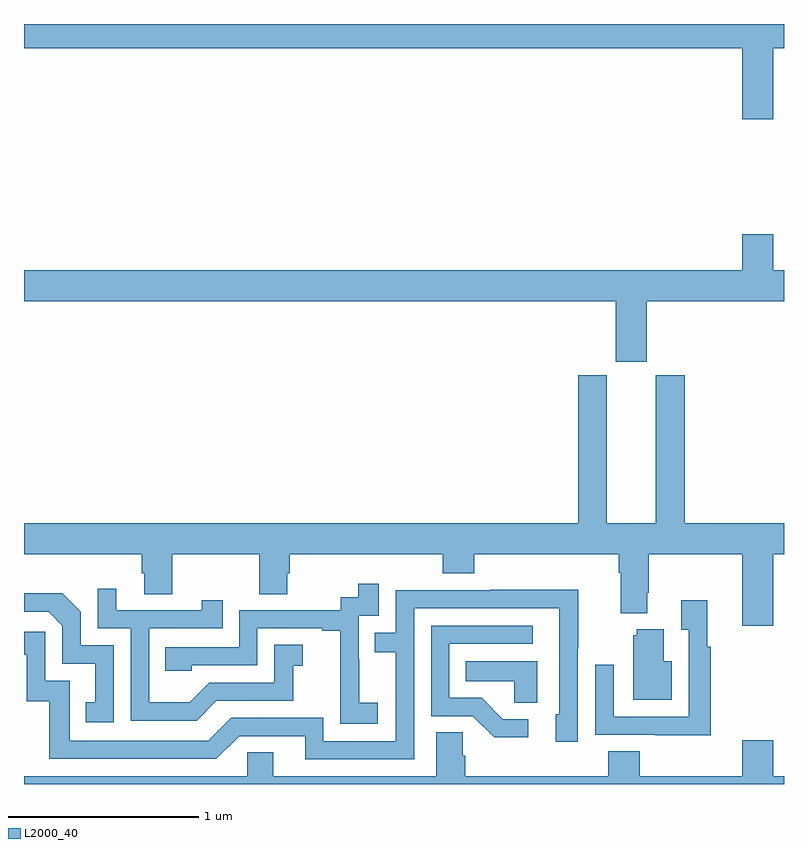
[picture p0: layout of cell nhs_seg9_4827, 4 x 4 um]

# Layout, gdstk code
import gdstk
lib = gdstk.Library(unit=1e-6, precision=1e-09)
def P(c, l, *ps):  # polygons
    for p in ps: c.add(gdstk.Polygon(p, *l))
L2000_40 = (2000, 40)

nhs_seg9_4827 = lib.new_cell('nhs_seg9_4827')
P(nhs_seg9_4827, L2000_40, [(392.944,1244.372),(393,1244.372),(393,1244.5),(389,1244.5),(389,1244.372),(392.78,1244.372),(392.78,1243.998),(392.944,1243.998)],
  [(392.278,1243.04),(393,1243.04),(393,1243.204),(392.944,1243.204),(392.944,1243.393),(392.78,1243.393),(392.78,1243.204),(389,1243.204),(389,1243.04),(392.114,1243.04),(392.114,1242.723),(392.278,1242.723)],
  [(392.944,1241.708),(393,1241.708),(393,1241.872),(392.477,1241.872),(392.477,1242.651),(392.324,1242.651),(392.324,1241.872),(392.068,1241.872),(392.068,1242.651),(391.916,1242.651),(391.916,1241.872),(389,1241.872),(389,1241.708),(389.621,1241.708),(389.621,1241.61),(389.633,1241.61),(389.633,1241.5),(389.781,1241.5),(389.781,1241.708),(390.238,1241.708),(390.238,1241.5),(390.385,1241.5),(390.385,1241.61),(390.398,1241.61),(390.398,1241.708),(391.205,1241.708),(391.205,1241.609),(391.37,1241.609),(391.37,1241.708),(392.129,1241.708),(392.129,1241.612),(392.141,1241.612),(392.141,1241.399),(392.281,1241.399),(392.281,1241.506),(392.289,1241.506),(392.289,1241.708),(392.78,1241.708),(392.78,1241.334),(392.944,1241.334)],
  [(390.862,1240.927),(390.764,1240.927),(390.764,1241.156),(390.762,1241.156),(390.762,1241.385),(390.867,1241.385),(390.867,1241.554),(390.759,1241.554),(390.759,1241.484),(390.666,1241.484),(390.666,1241.415),(390.132,1241.415),(390.132,1241.22),(389.743,1241.22),(389.743,1241.097),(389.883,1241.097),(389.883,1241.124),(390.228,1241.124),(390.228,1241.319),(390.569,1241.319),(390.569,1241.307),(390.665,1241.307),(390.665,1241.023),(390.664,1241.023),(390.664,1240.817),(390.862,1240.817)],
  [(390.013,1240.938),(390.417,1240.938),(390.417,1241.123),(390.466,1241.123),(390.466,1241.233),(390.318,1241.233),(390.318,1241.034),(389.976,1241.034),(389.872,1240.93),(389.658,1240.93),(389.658,1241.319),(390.047,1241.319),(390.047,1241.467),(389.936,1241.467),(389.936,1241.415),(389.485,1241.415),(389.485,1241.527),(389.388,1241.527),(389.388,1241.319),(389.562,1241.319),(389.562,1240.833),(389.908,1240.833)],
  [(391.053,1241.424),(391.818,1241.424),(391.818,1240.866),(391.799,1240.866),(391.799,1240.722),(391.914,1240.722),(391.914,1241.215),(391.917,1241.215),(391.917,1241.522),(391.453,1241.522),(391.453,1241.52),(390.957,1241.52),(390.957,1241.295),(390.847,1241.295),(390.847,1241.194),(390.957,1241.194),(390.957,1240.725),(390.576,1240.725),(390.576,1240.848),(390.09,1240.848),(389.97,1240.728),(389.241,1240.728),(389.241,1241.043),(389.112,1241.043),(389.112,1241.302),(389,1241.302),(389,1241.181),(389.015,1241.181),(389.015,1240.935),(389.133,1240.935),(389.133,1240.632),(390.012,1240.632),(390.132,1240.752),(390.479,1240.752),(390.479,1240.629),(391.053,1240.629)],
  [(389.472,1241.229),(389.298,1241.229),(389.298,1241.406),(389.2,1241.504),(389,1241.504),(389,1241.406),(389.13,1241.406),(389.202,1241.334),(389.202,1241.133),(389.375,1241.133),(389.375,1240.929),(389.326,1240.929),(389.326,1240.824),(389.472,1240.824)],
  [(392.615,1241.222),(392.597,1241.222),(392.597,1241.467),(392.459,1241.467),(392.459,1241.311),(392.499,1241.311),(392.499,1240.854),(392.103,1240.854),(392.103,1241.128),(392.007,1241.128),(392.007,1240.758),(392.323,1240.758),(392.323,1240.757),(392.615,1240.757)],
  [(391.654,1240.842),(391.519,1240.842),(391.408,1240.953),(391.239,1240.953),(391.239,1241.238),(391.678,1241.238),(391.678,1241.334),(391.143,1241.334),(391.143,1240.857),(391.362,1240.857),(391.475,1240.745),(391.654,1240.745)],
  [(392.41,1241.146),(392.368,1241.146),(392.368,1241.314),(392.225,1241.314),(392.225,1241.283),(392.207,1241.283),(392.207,1240.943),(392.41,1240.943)],
  [(391.702,1241.146),(391.324,1241.146),(391.324,1241.042),(391.581,1241.042),(391.581,1240.927),(391.702,1240.927)],
  [(391.322,1240.649),(391.308,1240.649),(391.308,1240.772),(391.169,1240.772),(391.169,1240.54),(390.313,1240.54),(390.313,1240.667),(390.174,1240.667),(390.174,1240.54),(389,1240.54),(389,1240.5),(393,1240.5),(393,1240.54),(392.944,1240.54),(392.944,1240.729),(392.78,1240.729),(392.78,1240.54),(392.24,1240.54),(392.24,1240.673),(392.075,1240.673),(392.075,1240.54),(391.322,1240.54)])

lib.write_gds('nhs_seg9_4827.gds')
